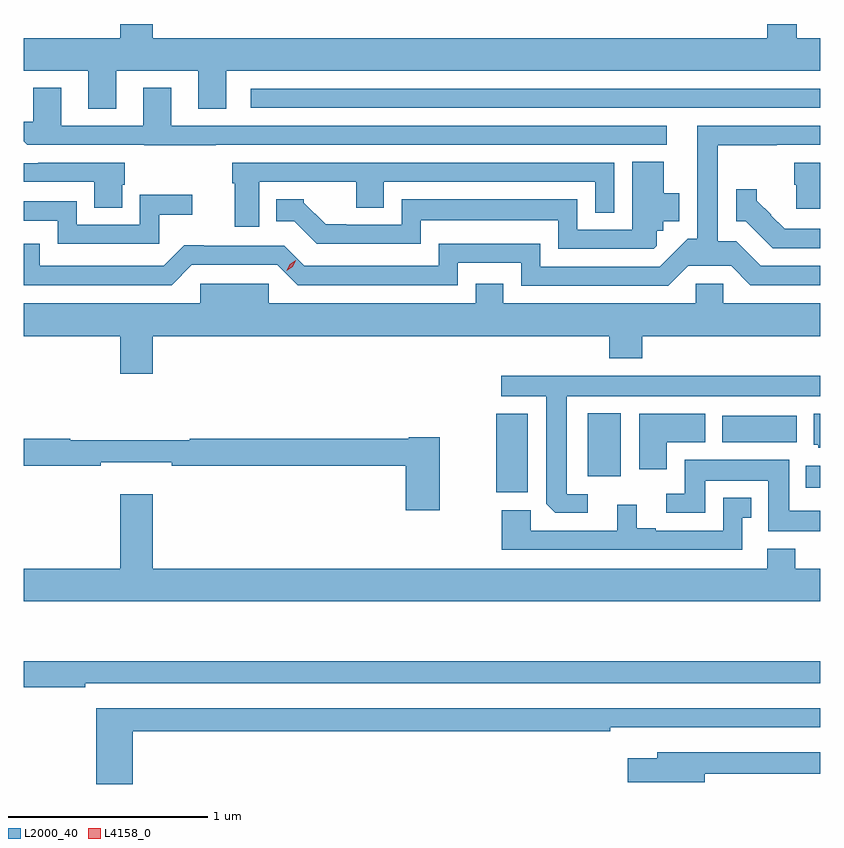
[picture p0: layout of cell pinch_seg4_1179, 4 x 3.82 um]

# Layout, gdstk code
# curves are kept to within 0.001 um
import gdstk
lib = gdstk.Library(unit=1e-6, precision=1e-09)
def R(c, l, rs):  # rectangles x0, y0, x1, y1
    for r in rs: c.add(gdstk.rectangle(r[:2], r[2:], *l))
def P(c, l, *ps):  # polygons
    for p in ps: c.add(gdstk.Polygon(p, *l))
L2000_40 = (2000, 40)
L4158_0 = (4158, 0)

pinch_seg4_1179 = lib.new_cell('pinch_seg4_1179')
R(pinch_seg4_1179, L2000_40, [(598.466,762.737,598.624,763.129), (600.02,762.758,600.092,762.868), (598.925,762.816,599.089,763.132), (599.6,762.986,599.974,763.12), (597.231,764.667,600.092,764.763)])
P(pinch_seg4_1179, L2000_40, [(596.557,764.852),(596.969,764.852),(596.969,764.662),(597.109,764.662),(597.109,764.852),(600.092,764.852),(600.092,765.016),(599.973,765.016),(599.973,765.087),(599.825,765.087),(599.825,765.016),(596.74,765.016),(596.74,765.087),(596.576,765.087),(596.576,765.016),(596.092,765.016),(596.092,764.852),(596.417,764.852),(596.417,764.662),(596.557,764.662)],
  [(597.056,764.481),(599.32,764.481),(599.32,764.577),(596.833,764.577),(596.833,764.767),(596.693,764.767),(596.693,764.577),(596.281,764.577),(596.281,764.767),(596.141,764.767),(596.141,764.595),(596.092,764.595),(596.092,764.498),(596.109,764.481),(596.697,764.481),(596.697,764.479),(597.056,764.479)],
  [(599.428,763.872),(599.645,763.872),(599.741,763.776),(600.092,763.776),(600.092,763.872),(599.793,763.872),(599.67,763.995),(599.578,763.995),(599.578,764.479),(599.873,764.479),(599.873,764.481),(600.092,764.481),(600.092,764.577),(599.474,764.577),(599.474,764.009),(599.426,764.009),(599.286,763.869),(598.686,763.869),(598.686,763.983),(598.176,763.983),(598.176,763.872),(597.502,763.872),(597.4,763.974),(596.995,763.975),(596.899,763.975),(596.796,763.872),(596.172,763.872),(596.172,763.983),(596.092,763.983),(596.092,763.776),(596.835,763.776),(596.937,763.878),(597.366,763.878),(597.468,763.776),(598.272,763.776),(598.272,763.887),(598.59,763.887),(598.59,763.773),(599.329,763.773)],
  [(599.27,763.973),(599.27,764.049),(599.304,764.049),(599.304,764.096),(599.383,764.096),(599.383,764.236),(599.305,764.236),(599.305,764.396),(599.147,764.396),(599.147,764.055),(598.872,764.055),(598.872,764.206),(597.99,764.206),(597.99,764.079),(597.712,764.079),(597.712,764.081),(597.608,764.081),(597.498,764.19),(597.498,764.206),(597.359,764.206),(597.359,764.097),(597.45,764.097),(597.564,763.983),(598.086,763.983),(598.086,764.102),(598.776,764.102),(598.776,763.959),(599.256,763.959)],
  [(600.092,764.391),(599.962,764.391),(599.962,764.28),(599.97,764.28),(599.97,764.16),(600.092,764.16)],
  [(596.587,764.28),(596.6,764.28),(596.6,764.391),(596.164,764.391),(596.164,764.388),(596.092,764.388),(596.092,764.295),(596.447,764.295),(596.447,764.164),(596.587,764.164)],
  [(597.274,764.295),(597.761,764.295),(597.761,764.164),(597.901,764.164),(597.901,764.295),(598.962,764.295),(598.962,764.14),(599.058,764.14),(599.058,764.391),(597.14,764.391),(597.14,764.288),(597.152,764.288),(597.152,764.07),(597.274,764.07)],
  [(600.092,764.058),(599.913,764.058),(599.844,764.127),(599.845,764.128),(599.773,764.2),(599.773,764.257),(599.669,764.257),(599.669,764.097),(599.717,764.097),(599.852,763.962),(600.092,763.962)],
  [(596.772,764.129),(596.938,764.129),(596.938,764.229),(596.676,764.229),(596.676,764.079),(596.358,764.079),(596.358,764.196),(596.092,764.196),(596.092,764.1),(596.262,764.1),(596.262,763.983),(596.772,763.983)],
  [(596.74,763.52),(599.033,763.52),(599.033,763.409),(599.198,763.409),(599.198,763.52),(600.092,763.52),(600.092,763.684),(599.604,763.684),(599.604,763.782),(599.466,763.782),(599.466,763.684),(598.501,763.684),(598.501,763.783),(598.361,763.783),(598.361,763.684),(597.322,763.684),(597.322,763.783),(596.979,763.783),(596.979,763.684),(596.092,763.684),(596.092,763.52),(596.576,763.52),(596.576,763.332),(596.74,763.332)],
  [(598.924,762.726),(598.819,762.726),(598.819,763.217),(600.092,763.217),(600.092,763.321),(598.491,763.321),(598.491,763.217),(598.715,763.217),(598.716,762.679),(598.762,762.633),(598.924,762.633)],
  [(600.092,763.129),(600.059,763.129),(600.059,762.975),(600.081,762.975),(600.081,762.959),(600.092,762.959)],
  [(599.32,762.986),(599.515,762.986),(599.515,763.129),(599.183,763.129),(599.183,762.852),(599.32,762.852)],
  [(598.18,763.012),(598.026,763.012),(598.026,763.004),(596.926,763.004),(596.926,762.997),(596.326,762.997),(596.326,763.004),(596.092,763.004),(596.092,762.868),(596.48,762.868),(596.48,762.887),(596.836,762.887),(596.836,762.868),(598.01,762.868),(598.01,762.645),(598.18,762.645)],
  [(600.092,762.643),(599.935,762.643),(599.935,762.898),(599.411,762.898),(599.411,762.729),(599.319,762.729),(599.319,762.633),(599.515,762.633),(599.515,762.794),(599.831,762.794),(599.831,762.539),(600.092,762.539)],
  [(600.092,762.352),(599.965,762.352),(599.965,762.451),(599.825,762.451),(599.825,762.352),(596.74,762.352),(596.74,762.727),(596.576,762.727),(596.576,762.352),(596.092,762.352),(596.092,762.188),(600.092,762.188)],
  [(599.7,762.609),(599.746,762.609),(599.746,762.709),(599.604,762.709),(599.604,762.543),(599.266,762.543),(599.266,762.556),(599.17,762.556),(599.17,762.673),(599.072,762.673),(599.072,762.543),(598.638,762.543),(598.638,762.646),(598.492,762.646),(598.492,762.447),(599.7,762.447)],
  [(596.402,761.778),(600.092,761.778),(600.092,761.887),(596.092,761.887),(596.092,761.758),(596.402,761.758)],
  [(596.639,761.536),(599.036,761.536),(599.036,761.556),(600.092,761.556),(600.092,761.652),(596.456,761.652),(596.456,761.271),(596.639,761.271)],
  [(599.512,761.322),(600.092,761.322),(600.092,761.43),(599.273,761.43),(599.273,761.401),(599.124,761.401),(599.124,761.279),(599.512,761.279)])
P(pinch_seg4_1179, L4158_0, [(597.413,763.847),(597.413,763.847),(597.428,763.881),(597.459,763.902),(597.459,763.902),(597.459,763.901),(597.443,763.868),(597.413,763.847)])

lib.write_gds('pinch_seg4_1179.gds')
